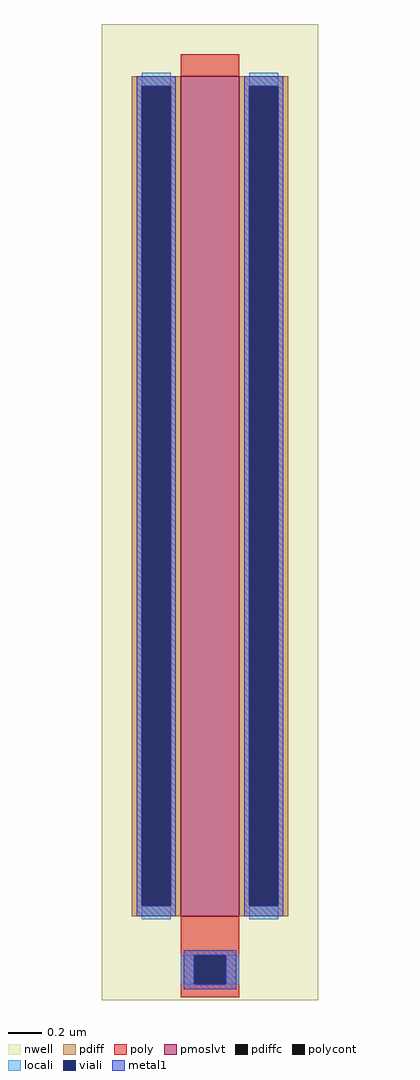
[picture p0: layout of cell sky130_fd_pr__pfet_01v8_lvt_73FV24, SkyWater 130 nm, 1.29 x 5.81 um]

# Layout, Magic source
magic
tech sky130A
magscale 1 2
<< nwell >>
rect -129 -564 129 598
<< pmoslvt >>
rect -35 -464 35 536
<< pdiff >>
rect -93 524 -35 536
rect -93 -452 -81 524
rect -47 -452 -35 524
rect -93 -464 -35 -452
rect 35 524 93 536
rect 35 -452 47 524
rect 81 -452 93 524
rect 35 -464 93 -452
<< pdiffc >>
rect -81 -452 -47 524
rect 47 -452 81 524
<< poly >>
rect -35 536 35 562
rect -35 -511 35 -464
rect -35 -545 -19 -511
rect 19 -545 35 -511
rect -35 -561 35 -545
<< polycont >>
rect -19 -545 19 -511
<< locali >>
rect -81 524 -47 540
rect -81 -468 -47 -452
rect 47 524 81 540
rect 47 -468 81 -452
rect -35 -545 -19 -511
rect 19 -545 35 -511
<< viali >>
rect -81 -452 -47 524
rect 47 -452 81 524
rect -19 -545 19 -511
<< metal1 >>
rect -87 524 -41 536
rect -87 -452 -81 524
rect -47 -452 -41 524
rect -87 -464 -41 -452
rect 41 524 87 536
rect 41 -452 47 524
rect 81 -452 87 524
rect 41 -464 87 -452
rect -31 -511 31 -505
rect -31 -545 -19 -511
rect 19 -545 31 -511
rect -31 -551 31 -545
<< properties >>
string gencell sky130_fd_pr__pfet_01v8_lvt
string library sky130
string parameters w 5.0 l 0.35 m 1 nf 1 diffcov 100 polycov 100 guard 0 glc 1 grc 1 gtc 1 gbc 1 tbcov 100 rlcov 100 topc 0 botc 1 poverlap 0 doverlap 1 lmin 0.35 wmin 0.42 compatible {sky130_fd_pr__pfet_01v8  sky130_fd_pr__pfet_01v8_lvt sky130_fd_pr__pfet_01v8_hvt  sky130_fd_pr__pfet_g5v0d10v5} full_metal 0 viasrc 100 viadrn 100 viagate 100 viagb 0 viagr 0 viagl 0 viagt 0
<< end >>
